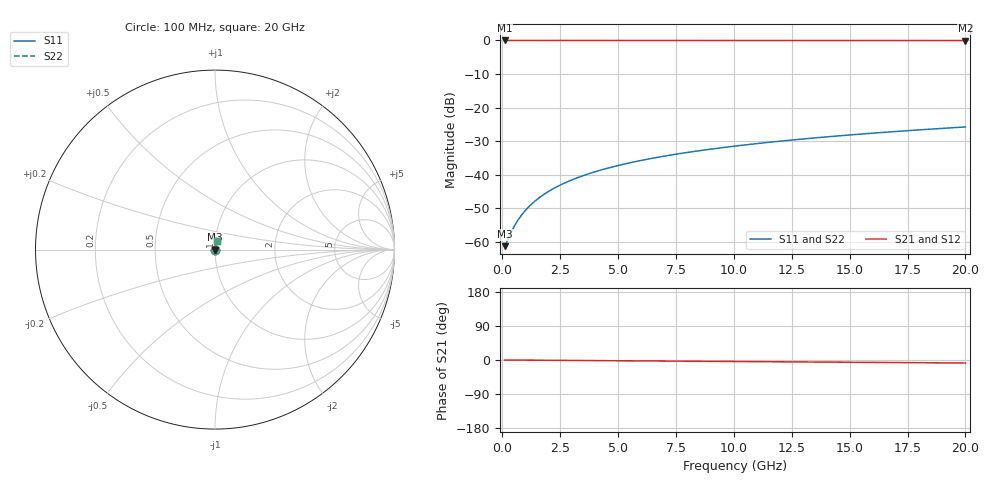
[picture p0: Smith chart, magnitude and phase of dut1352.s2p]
! Touchstone file exported from HFSS 2026.1.0
!  File:  C:/ffzhzh/LocalFiles/Ansys_Project_Files/temp_train_TSV_1352_1783195820_51560.aedt
!  Generated:  04:12:13 AM Jul  5, 2026
!  Design:  TSV
!  Project:  temp_train_TSV_1352_1783195820_51560
! Variables:
!  h_bsmrdl = 2um
!  h_ox = 20um
!  h_rdl = 5um
!  h_sub = 76.65um
!  h_tmrdl = 5um
!  h_tsv = 76.65um
!  h_via = 3um
!  l_bsmrdl = 300um
!  l_sub = 406.72um
!  l_tmrdl = 200um
!  m_sub = 200um
!  pitch = 24.39um
!  r_tsv = 3.36um
!  s_tmrdl = 10um
!  w_bsmrdl = 18um
!  w_sub = 500um
!  w_tmrdl = 12um
!  x_tsv_center1 = 206um
!  x_tsv_center2 = 524um
!  x_tsv_center3 = 736um
!  x_tsv_center4 = 1054um
!  x_tsv_center5 = 1266um
!  x_tsv_center6 = 1584um
# GHz S MA R 50.000000
! Terminal data exported
! Port[1] = TSV1_1_T1
! Port[2] = TSV1_1_T2
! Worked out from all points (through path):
!   200 points, 100 MHz to 20 GHz, reference 50 ohm
!   highest |S21| = -0.01 dB at 100 MHz (marker M1); lowest = 0.0 dB at 20 GHz (marker M2)
!   group delay of S21, straight-line fit = 1.1 ps
!   lowest |S11| = -61.3 dB at 100 MHz (marker M3), VSWR 1.00, Z = 50.1 + j0.0294 ohm
!   |S11| at or under -10 dB: start of sweep to end of sweep
!   |S22| runs from -61.3 to -25.8 dB; largest |S21 - S12| = 6.3e-15
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0.1  0.0008562 20.0  0.9992 -0.0  0.9992 -0.0  0.0008562 20.0
! Gamma 0 0 0 0
! Port Impedance 50 0 50 0
0.2  0.001002 35.5  0.9992 -0.1  0.9992 -0.1  0.001002 35.5
0.4  0.001418 53.5  0.9992 -0.2  0.9992 -0.2  0.001418 53.5
0.5  0.001654 58.9  0.9991 -0.2  0.9991 -0.2  0.001654 58.9
0.7  0.00215 66.0  0.9991 -0.3  0.9991 -0.3  0.00215 66.0
0.8  0.002407 68.4  0.9991 -0.3  0.9991 -0.3  0.002407 68.4
1  0.002929 72.0  0.9991 -0.4  0.9991 -0.4  0.002929 72.0
1.3  0.003728 75.4  0.9991 -0.5  0.9991 -0.5  0.003728 75.4
1.7  0.004805 78.0  0.999 -0.7  0.999 -0.7  0.004805 78.0
2.2  0.006159 79.9  0.999 -0.9  0.999 -0.9  0.006159 79.9
2.8  0.007782 81.1  0.9989 -1.1  0.9989 -1.1  0.007782 81.1
3.5  0.009666 81.8  0.9988 -1.4  0.9988 -1.4  0.009666 81.8
4.2  0.01153 82.1  0.9987 -1.7  0.9987 -1.7  0.01153 82.1
5  0.01365 82.2  0.9985 -2.0  0.9985 -2.0  0.01365 82.2
5.9  0.016 82.2  0.9984 -2.4  0.9984 -2.4  0.016 82.2
6.8  0.01833 82.1  0.9982 -2.7  0.9982 -2.7  0.01833 82.1
8.3  0.02217 81.8  0.9979 -3.3  0.9979 -3.3  0.02217 81.8
10.1  0.02673 81.5  0.9975 -4.0  0.9975 -4.0  0.02673 81.5
11.7  0.03074 81.1  0.9973 -4.7  0.9973 -4.7  0.03074 81.1
13.4  0.03499 80.7  0.9969 -5.3  0.9969 -5.3  0.03499 80.7
16.7  0.04318 79.7  0.9963 -6.6  0.9963 -6.6  0.04318 79.7
20  0.05131 78.7  0.9957 -7.9  0.9957 -7.9  0.05131 78.7
